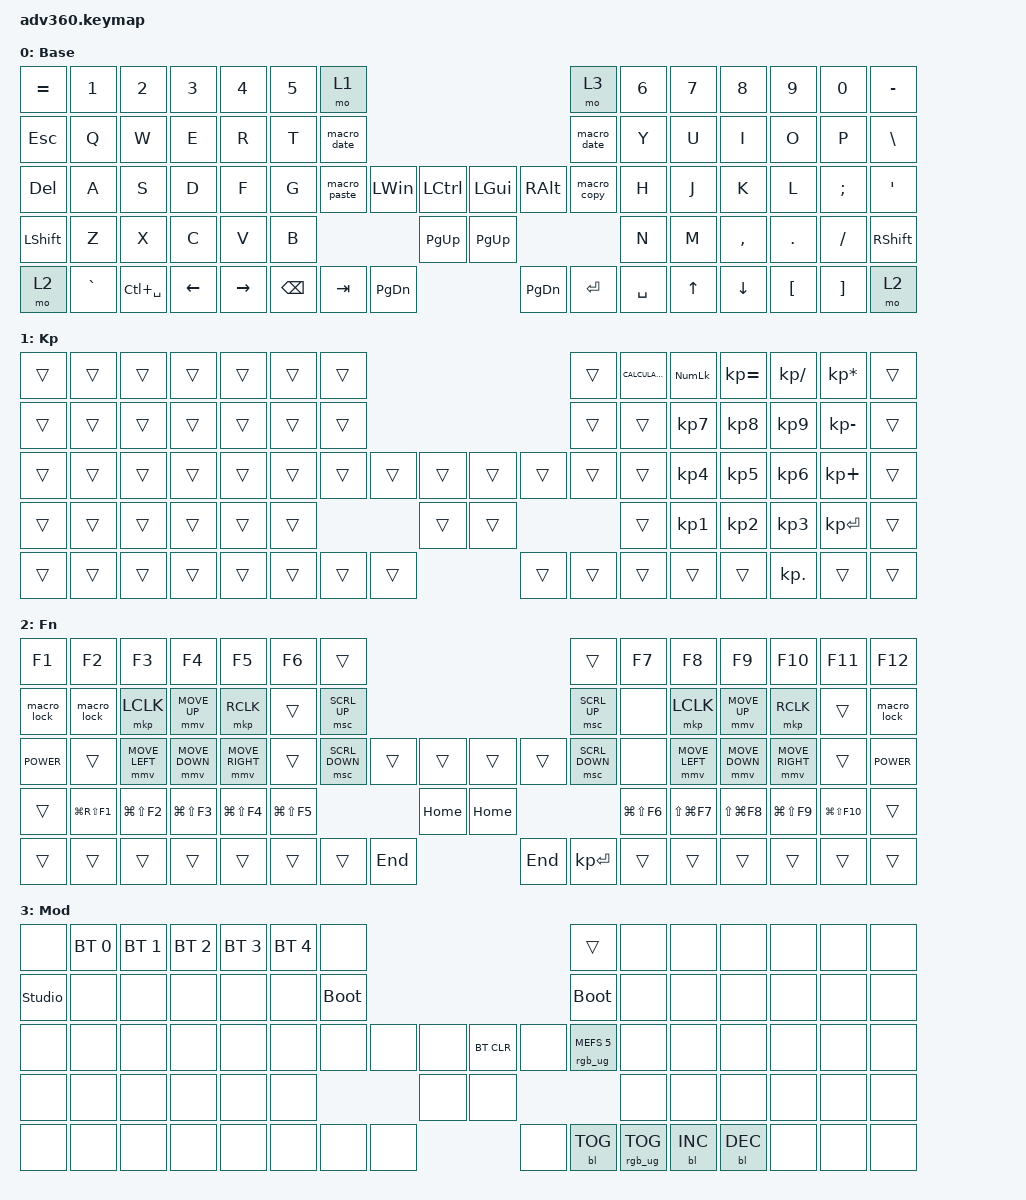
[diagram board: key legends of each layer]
/*
 * Erik's adv360.keymap file based on Kinesis repo / starter config file
 * edited using https://nickcoutsos.github.io/keymap-editor/
 */

#include <dt-bindings/zmk/stp.h>
#include <behaviors.dtsi>
#include <dt-bindings/zmk/backlight.h>
#include <dt-bindings/zmk/bt.h>
#include <dt-bindings/zmk/keys.h>
#include <dt-bindings/zmk/pointing.h>
#include <dt-bindings/zmk/rgb.h>

/ {
    behaviors {
        #include "macros.dtsi"
        #include "version.dtsi"

        hm: homerow_mods {
            compatible = "zmk,behavior-hold-tap";
            label = "HOMEROW_MODS";
            #binding-cells = <2>;
            tapping-term-ms = <200>;
            quick_tap_ms = <175>;
            flavor = "tap-preferred";
            bindings = <&kp>, <&kp>;
        };
    };

    keymap {
        compatible = "zmk,keymap";

        default_layer {
            display-name = "Base";
            bindings = <
&kp EQUAL   &kp N1     &kp N2         &kp N3    &kp N4     &kp N5  &mo 1                                                                                  &mo 3        &kp N6  &kp N7  &kp N8     &kp N9    &kp N0    &kp MINUS
&kp ESC     &kp Q      &kp W          &kp E     &kp R      &kp T   &macro_date                                                                            &macro_date  &kp Y   &kp U   &kp I      &kp O     &kp P     &kp BSLH
&kp DELETE  &kp A      &kp S          &kp D     &kp F      &kp G   &macro_paste            &kp LWIN  &kp LEFT_CONTROL    &kp LGUI   &kp RALT              &macro_copy  &kp H   &kp J   &kp K      &kp L     &kp SEMI  &kp SQT
&kp LSHFT   &kp Z      &kp X          &kp C     &kp V      &kp B                                     &kp PAGE_UP         &kp PG_UP                                     &kp N   &kp M   &kp COMMA  &kp DOT   &kp FSLH  &kp RSHFT
&mo 2       &kp GRAVE  &kp LC(SPACE)  &kp LEFT  &kp RIGHT                        &kp BSPC  &kp TAB   &kp PAGE_DOWN       &kp PG_DN  &kp ENTER  &kp SPACE                       &kp UP  &kp DOWN   &kp LBKT  &kp RBKT  &mo 2
            >;
        };

        layer_keypad {
            display-name = "Kp";
            bindings = <
&trans  &trans  &trans  &trans  &trans  &trans  &trans                                                    &trans  &kp K_CALCULATOR  &kp KP_NUM  &kp KP_EQUAL  &kp KP_DIVIDE  &kp KP_MULTIPLY  &trans
&trans  &trans  &trans  &trans  &trans  &trans  &trans                                                    &trans  &trans            &kp KP_N7   &kp KP_N8     &kp KP_N9      &kp KP_MINUS     &trans
&trans  &trans  &trans  &trans  &trans  &trans  &trans          &trans  &trans    &trans  &trans          &trans  &trans            &kp KP_N4   &kp KP_N5     &kp KP_N6      &kp KP_PLUS      &trans
&trans  &trans  &trans  &trans  &trans  &trans                          &trans    &trans                          &trans            &kp KP_N1   &kp KP_N2     &kp KP_N3      &kp KP_ENTER     &trans
&trans  &trans  &trans  &trans  &trans                  &trans  &trans  &trans    &trans  &trans  &trans                            &trans      &trans        &kp KP_DOT     &trans           &trans
            >;
        };

        layer_fn {
            display-name = "Fn";
            bindings = <
&kp F1       &kp F2          &kp F3          &kp F4          &kp F5           &kp F6          &trans                                                                      &trans          &kp F7          &kp F8          &kp F9          &kp F10          &kp F11          &kp F12
&macro_lock  &macro_lock     &mkp LCLK       &mmv MOVE_UP    &mkp RCLK        &trans          &msc SCRL_UP                                                                &msc SCRL_UP    &none           &mkp LCLK       &mmv MOVE_UP    &mkp RCLK        &trans           &macro_lock
&kp C_POWER  &trans          &mmv MOVE_LEFT  &mmv MOVE_DOWN  &mmv MOVE_RIGHT  &trans          &msc SCRL_DOWN          &trans  &trans      &trans    &trans                &msc SCRL_DOWN  &none           &mmv MOVE_LEFT  &mmv MOVE_DOWN  &mmv MOVE_RIGHT  &trans           &kp C_POWER
&trans       &kp LG(RS(F1))  &kp LG(LS(F2))  &kp LG(LS(F3))  &kp LG(LS(F4))   &kp LG(LS(F5))                                  &kp HOME    &kp HOME                                        &kp LG(LS(F6))  &kp LS(LG(F7))  &kp LS(LG(F8))  &kp LG(LS(F9))   &kp LG(LS(F10))  &trans
&trans       &trans          &trans          &trans          &trans                                           &trans  &trans  &kp END     &kp END   &kp KP_ENTER  &trans                                  &trans          &trans          &trans           &trans           &trans
            >;
        };

        layer_mod {
            display-name = "Mod";
            bindings = <
&none           &bt BT_SEL 0  &bt BT_SEL 1  &bt BT_SEL 2  &bt BT_SEL 3  &bt BT_SEL 4  &none                                                                        &trans                  &none  &none       &none       &none  &none  &none
&studio_unlock  &none         &none         &none         &none         &none         &bootloader                                                                  &bootloader             &none  &none       &none       &none  &none  &none
&none           &none         &none         &none         &none         &none         &none               &none  &none    &bt BT_CLR  &none                        &rgb_ug RGB_MEFS_CMD 5  &none  &none       &none       &none  &none  &none
&none           &none         &none         &none         &none         &none                                    &none    &none                                                            &none  &none       &none       &none  &none  &none
&none           &none         &none         &none         &none                                    &none  &none  &none    &none       &bl BL_TOG  &rgb_ug RGB_TOG                                 &bl BL_INC  &bl BL_DEC  &none  &none  &none
            >;
        };

        extra1 {
            display-name = "Red";
            status = "reserved";
        };

        extra2 {
            display-name = "Purple";
            status = "reserved";
        };

        extra3 {
            display-name = "Cyan";
            status = "reserved";
        };

        extra4 {
            display-name = "Yellow";
            status = "reserved";
        };
    };
};

/ {
    macros {
        macro_paste: macro_paste {
            compatible = "zmk,behavior-macro";
            label = "macro_paste";
            #binding-cells = <0>;
            bindings =
                <&macro_press>,
                <&kp LEFT_COMMAND>,
                <&macro_tap>,
                <&kp V>,
                <&macro_release>,
                <&kp LEFT_COMMAND>;
        };

        macro_copy: macro_copy {
            compatible = "zmk,behavior-macro";
            label = "macro_copy";
            #binding-cells = <0>;
            bindings =
                <&macro_press>,
                <&kp LEFT_COMMAND>,
                <&macro_tap>,
                <&kp C>,
                <&macro_release>,
                <&kp LEFT_COMMAND>;
        };

        macro_grave: macro_grave {
            compatible = "zmk,behavior-macro";
            label = "macro_grave";
            #binding-cells = <0>;
            bindings = <&kp GRAVE &kp GRAVE &kp LEFT>;
        };

        macro_date: macro_date {
            compatible = "zmk,behavior-macro";
            label = "macro_date";
            #binding-cells = <0>;
            bindings = <&kp NUMBER_2 &kp NUMBER_0 &kp NUMBER_2 &kp NUMBER_6 &kp MINUS &kp LEFT_ARROW>;
        };

        macro_lock: macro_lock {
            compatible = "zmk,behavior-macro";
            #binding-cells = <0>;
            bindings = <&kt LEFT_COMMAND &kt LEFT_CONTROL &kp Q &kt LEFT_COMMAND &kt LEFT_CONTROL>;
            label = "MACRO_LOCK";
        };
    };
};
